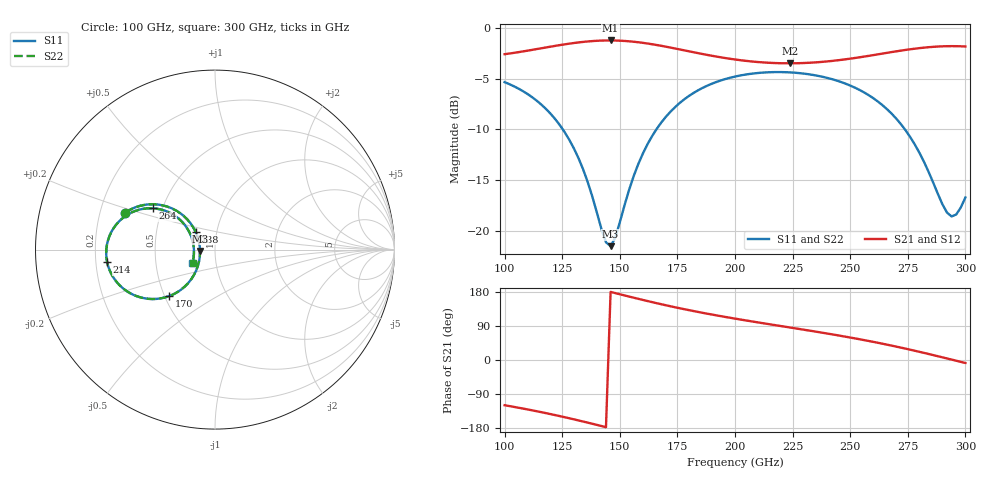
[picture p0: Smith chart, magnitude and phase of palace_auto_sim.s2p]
#  GHZ S DB R 50
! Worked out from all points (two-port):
!   101 points, 100 GHz to 300 GHz, reference 50 ohm
!   highest |S21| = -1.22 dB at 146 GHz (marker M1); lowest = -3.5 dB at 224 GHz (marker M2)
!   |S21| within 3 dB of the highest: start of sweep to end of sweep
!   lowest |S11| = -21.5 dB at 146 GHz (marker M3), VSWR 1.18, Z = 42.3 - j0.713 ohm
!   |S11| at or under -10 dB: 125.2 GHz to 165.9 GHz (40.67 GHz wide, 27.9 % of centre); 273.7 GHz to end of sweep
!   |S22| runs from -21.5 to -4.3 dB; largest |S21 - S12| = 0
!   S11 on the Smith chart (normalised r, x): 100 GHz: 0.31, +0.18; 138 GHz: 0.79, +0.16; 170 GHz: 0.53, -0.32; 214 GHz: 0.25, -0.05; 264 GHz: 0.44, +0.25; 300 GHz: 0.77, -0.12
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100  -5.34 157.6  -2.58 -119.3  -2.58 -119.3  -5.34 157.6
120  -8.47 139.4  -1.83 -142.9  -1.83 -142.9  -8.47 139.5
128  -11.00 133.7  -1.54 -153.7  -1.54 -153.7  -11.00 133.8
134  -13.91 132.8  -1.37 -162.3  -1.37 -162.3  -13.90 132.9
138  -16.59 137.1  -1.28 -168.2  -1.28 -168.2  -16.58 137.3
144  -21.16 166.8  -1.22 -177.3  -1.22 -177.3  -21.12 166.9
146  -21.54 -174.3  -1.22 179.7  -1.22 179.7  -21.51 -174.3
158  -13.44 -128.7  -1.40 161.5  -1.40 161.5  -13.44 -128.7
168  -9.33 -133.0  -1.75 147.2  -1.75 147.2  -9.33 -133.0
170  -8.76 -134.6  -1.84 144.5  -1.84 144.5  -8.76 -134.6
184  -6.14 -147.3  -2.47 126.8  -2.47 126.8  -6.14 -147.3
200  -4.79 -161.6  -3.10 109.2  -3.10 109.2  -4.79 -161.6
214  -4.37 -173.3  -3.42 95.3  -3.42 95.3  -4.37 -173.3
224  -4.38 178.6  -3.48 85.6  -3.48 85.6  -4.38 178.7
234  -4.63 170.6  -3.40 75.9  -3.40 75.9  -4.63 170.7
250  -5.67 157.6  -3.02 59.3  -3.02 59.3  -5.67 157.6
264  -7.61 146.4  -2.52 43.0  -2.52 43.0  -7.61 146.5
268  -8.46 143.6  -2.37 37.9  -2.37 37.9  -8.45 143.7
278  -11.48 139.5  -2.03 24.5  -2.03 24.5  -11.48 139.5
292  -18.22 167.8  -1.79 4.1  -1.79 4.1  -18.22 167.9
296  -18.42 -168.3  -1.79 -1.9  -1.79 -1.9  -18.42 -168.2
300  -16.73 -149.5  -1.82 -7.9  -1.82 -7.9  -16.73 -149.4
